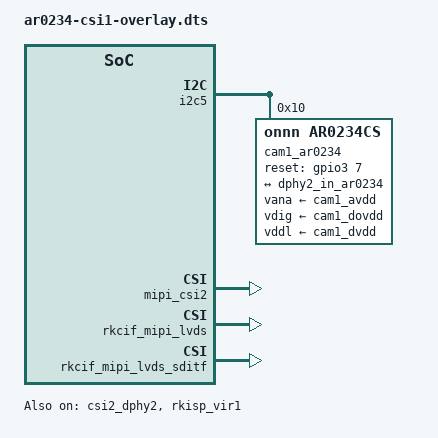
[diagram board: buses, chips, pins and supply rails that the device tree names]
// SPDX-License-Identifier: GPL-2.0-only
/*
 * AR0234 (Kurokesu) on the LubanCat-1IO CSI1 connector (cam1).
 *
 * Modelled on rk356x-lubancat-csi1-ov8858-1632x1224-30fps-overlay.dts and
 * on the cam1 path of rk3568-lubancat-csi2-double.dtsi:
 *
 *   &i2c5 -> sensor -> &csi2_dphy2 (port@0, 2 lanes) -> &mipi_csi2
 *         -> &rkcif_mipi_lvds -> &rkcif_mipi_lvds_sditf -> &rkisp_vir1
 *
 * Differences from the ov8858 overlay:
 *  - a NEW sensor node is created (the cam1_ov8858 node carries
 *    "lens-focus = <&cam1_dw9714>", which this camera does not have);
 *  - cam1_dw9714 is NOT enabled;
 *  - the D-PHY gets a new input endpoint for the AR0234 (0x1..0x5 are used).
 *
 * Labels are prefixed "cam1_" so this overlay can be loaded together with
 * the CSI0 AR0234 overlay.
 *
 * Not verified on hardware.
 */
/dts-v1/;
/plugin/;

/ {
	fragment@0 {
		target = <&i2c5>;
		__overlay__ {
			/* Same as the base i2c5 node: 1-cell I2C address */
			#address-cells = <1>;
			#size-cells = <0>;
			status = "okay";

			cam1_ar0234: ar0234@10 {
				compatible = "onnn,ar0234cs";
				status = "okay";
				reg = <0x10>;

				/* 24 MHz fixed clock for cam1 in the base dtsi */
				clocks = <&ext_cam1_clk>;
				clock-names = "xvclk";

				/* Same rails as the cam1_ov8858 node */
				vana-supply = <&cam1_avdd>;
				vdig-supply = <&cam1_dovdd>;
				vddl-supply = <&cam1_dvdd>;

				/*
				 * Module power enable (pin 11, CAM_IO0) on the
				 * CSI1 connector = GPIO3_A7 (board schematic).
				 * The driver drives its "reset" GPIO high while
				 * the sensor is powered.
				 * <&gpio3 7 0>: 7 = RK_PA7, 0 = GPIO_ACTIVE_HIGH
				 */
				reset-gpios = <&gpio3 7 0>;

				rotation = <0>;
				orientation = <2>;

				/* Rockchip module information; index 1 = cam1 */
				rockchip,camera-module-index = <1>;
				rockchip,camera-module-facing = "back";
				rockchip,camera-module-name = "kurokesu";
				rockchip,camera-module-lens-name = "default";

				port {
					cam1_ar0234_out: endpoint {
						remote-endpoint = <&dphy2_in_ar0234>;
						clock-lanes = <0>;
						data-lanes = <1 2>;
						/*
						 * The FIRST value selects the
						 * driver configuration:
						 *   450000000 -> 10-bit
						 *   360000000 ->  8-bit
						 */
						link-frequencies =
							/bits/ 64 <450000000>;
					};
				};
			};
		};
	};

	fragment@1 {
		target = <&csi2_dphy2>;
		__overlay__ {
			status = "okay";

			/* Same values as the base dtsi; needed so dtc
			 * accepts the 1-cell "reg" of port@0 / endpoint */
			ports {
				#address-cells = <1>;
				#size-cells = <0>;

				port@0 {
					reg = <0>;
					#address-cells = <1>;
					#size-cells = <0>;

					/* 0x1..0x5 are used by other sensors */
					dphy2_in_ar0234: endpoint@6 {
						reg = <6>;
						remote-endpoint = <&cam1_ar0234_out>;
						data-lanes = <1 2>;
					};
				};
			};
		};
	};

	/* The rest of the cam1 pipeline, as in the ov8858 csi1 overlay */
	fragment@2 {
		target = <&mipi_csi2>;
		__overlay__ {
			status = "okay";
		};
	};

	fragment@3 {
		target = <&rkcif_mipi_lvds>;
		__overlay__ {
			status = "okay";
		};
	};

	fragment@4 {
		target = <&rkcif_mipi_lvds_sditf>;
		__overlay__ {
			status = "okay";
		};
	};

	fragment@5 {
		target = <&rkisp_vir1>;
		__overlay__ {
			status = "okay";
		};
	};
};
